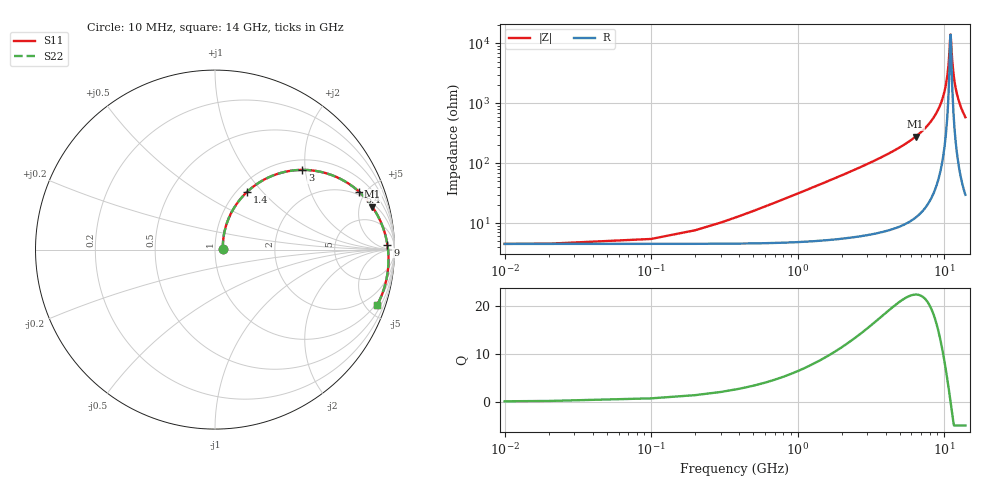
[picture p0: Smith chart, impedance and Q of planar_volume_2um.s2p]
! Created with skrf 1.12.0 (http://scikit-rf.org).
# GHz S DB R 50.0
!freq dBS11 angS11 dBS21 angS21 dBS12 angS12 dBS22 angS22
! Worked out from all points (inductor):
!   142 points, 10 MHz to 14 GHz, reference 50 ohm
!   read as one part in series: L = 4.87 nH near 500 MHz
!   highest Q = 22.4 at 6.4 GHz (marker M1), where L = 6.92 nH
!   self-resonance near 11 GHz
!   S11 on the Smith chart (normalised r, x): 10 MHz: 1.09, +0.01; 1.4 GHz: 1.11, +0.83; 3 GHz: 1.23, +1.93; 5.4 GHz: 1.76, +4.53; 9 GHz: 33, +24; 14 GHz: 0.84, -5.95
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0.01  -27.29 3.4  -0.38 -0.2  -0.38 -0.2  -27.29 3.4
0.4  -18.60 62.7  -0.47 -7.1  -0.47 -7.1  -18.60 62.7
0.6  -15.39 66.1  -0.56 -10.5  -0.56 -10.5  -15.39 66.1
1.4  -8.62 60.8  -1.16 -23.4  -1.16 -23.4  -8.62 60.8
2.4  -4.90 49.0  -2.34 -37.2  -2.34 -37.2  -4.90 49.0
3  -3.62 42.4  -3.21 -44.4  -3.21 -44.4  -3.63 42.4
4.7  -1.68 27.0  -6.12 -60.5  -6.12 -60.5  -1.68 27.0
5.4  -1.25 21.8  -7.48 -65.7  -7.48 -65.7  -1.25 21.8
6.4  -0.84 15.3  -9.63 -72.3  -9.63 -72.3  -0.84 15.3
7.1  -0.64 11.3  -11.33 -76.2  -11.33 -76.2  -0.64 11.3
9  -0.35 1.7  -17.65 -84.7  -17.65 -84.7  -0.35 1.7
9.4  -0.32 -0.2  -19.61 -85.8  -19.61 -85.8  -0.32 -0.2
10  -0.28 -2.8  -23.58 -86.4  -23.58 -86.4  -0.28 -2.8
10.5  -0.27 -5.0  -28.96 -83.6  -28.96 -83.6  -0.27 -5.0
10.8  -0.26 -6.2  -34.76 -74.0  -34.76 -74.0  -0.26 -6.2
11  -0.26 -7.0  -41.40 -43.7  -41.40 -43.7  -0.26 -7.0
11.1  -0.26 -7.4  -43.30 -0.9  -43.30 -0.9  -0.26 -7.5
11.4  -0.26 -8.7  -34.25 61.1  -34.25 61.1  -0.26 -8.7
11.7  -0.27 -9.9  -28.89 69.4  -28.89 69.4  -0.27 -9.9
12.1  -0.28 -11.5  -24.71 72.0  -24.71 72.0  -0.28 -11.5
12.6  -0.30 -13.4  -21.36 72.1  -21.36 72.1  -0.30 -13.4
14  -0.40 -18.7  -15.95 68.6  -15.95 68.6  -0.40 -18.7
